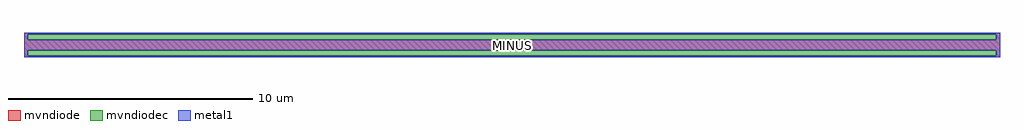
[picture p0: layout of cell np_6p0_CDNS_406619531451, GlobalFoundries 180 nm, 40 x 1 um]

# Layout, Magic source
magic
tech gf180mcuD
magscale 1 10
<< mvndiode >>
rect 0 187 8000 200
rect 0 141 29 187
rect 7971 141 8000 187
rect 0 59 8000 141
rect 0 13 29 59
rect 7971 13 8000 59
rect 0 0 8000 13
<< mvndiodec >>
rect 29 141 7971 187
rect 29 13 7971 59
<< metal1 >>
rect 0 187 8000 200
rect 0 141 29 187
rect 7971 141 8000 187
rect 0 59 8000 141
rect 0 13 29 59
rect 7971 13 8000 59
rect 0 0 8000 13
<< labels >>
rlabel metal1 4000 100 4000 100 4 MINUS
<< end >>
